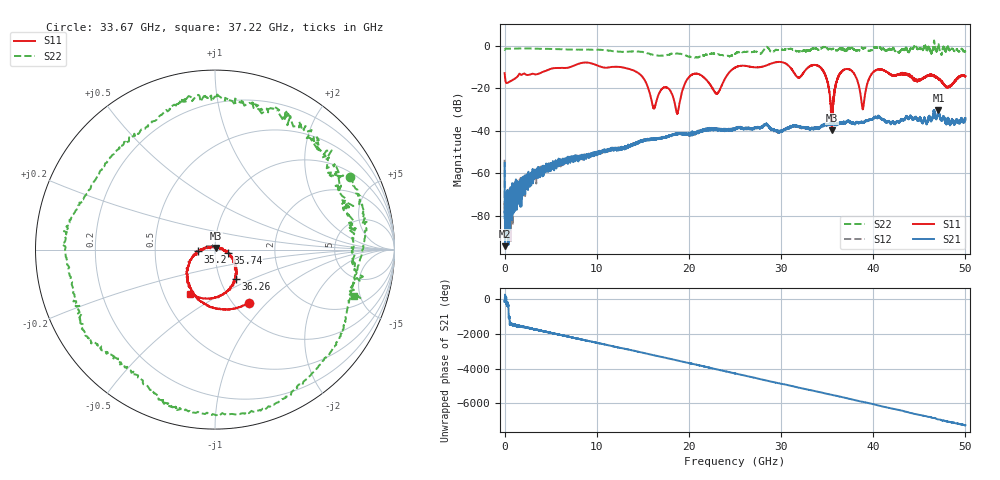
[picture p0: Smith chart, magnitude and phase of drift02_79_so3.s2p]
!Created with skrf (http://scikit-rf.org).
# Hz S RI R 50.0
!freq ReS11 ImS11 ReS21 ImS21 ReS12 ImS12 ReS22 ImS22
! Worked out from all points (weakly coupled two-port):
!   10001 points, 300 kHz to 50 GHz, reference 50 ohm
!   highest |S21| = -30.18 dB at 47.08 GHz (marker M1); lowest = -94.2 dB at 40.3 MHz (marker M2)
!   lowest |S11| = -39.8 dB at 35.51 GHz (marker M3), VSWR 1.02, Z = 50.6 + j0.858 ohm
!   |S11| at or under -10 dB: start of sweep to 7.181 GHz; 12.36 GHz to 25.16 GHz (12.81 GHz wide, 68.3 % of centre); 34.22 GHz to end of sweep (the widest 3 of 18)
!   |S22| runs from -5.7 to 2.4 dB; largest |S21 - S12| = 0.0038
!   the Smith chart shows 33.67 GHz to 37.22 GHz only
!   S11 on the Smith chart (normalised r, x): 33.67 GHz: 1.18, -0.79; 35.2 GHz: 0.83, -0.02; 35.74 GHz: 1.15, -0.04; 36.26 GHz: 1.19, -0.40; 37.22 GHz: 0.68, -0.37
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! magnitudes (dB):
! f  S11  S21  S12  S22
! 300 kHz  -12.9  -55.1  -53.6  -2.1
! 40.3 MHz  -14.7  -94.2  -73.6  -1.7
! 280.3 MHz  -17.6  -72.9  -82.1  -1.4
! 8.335 GHz  -8.2  -51.8  -52.6  -1.9
! 14.05 GHz  -11.8  -46.5  -46.1  -2.8
! 16.67 GHz  -23.4  -43.9  -43.4  -4.7
! 18.74 GHz  -31.9  -41.5  -41.5  -3.7
! 20.24 GHz  -13.9  -41.9  -41.2  -5.4
! 23.04 GHz  -22.6  -39.3  -39.5  -4.1
! 25 GHz  -10.3  -39.3  -39.3  -3.9
! 33.34 GHz  -9.3  -38.8  -38.9  -1.5
! 33.67 GHz  -9.1  -38.7  -38.7  -1.4
! 35.2 GHz  -20.5  -36.9  -37.1  -1.5
! 35.51 GHz  -39.8  -36.8  -36.7  -1.7
! 35.74 GHz  -22.7  -36.7  -36.9  -1.7
! 36.26 GHz  -14.0  -36.9  -36.5  -1.7
! 37.22 GHz  -11.0  -35.5  -35.7  -1.8
! 38.86 GHz  -29.8  -36.0  -35.9  -1.3
! 39.95 GHz  -12.7  -34.4  -34.4  -2.0
! 41.67 GHz  -13.0  -35.6  -35.8  -1.9
! 47.08 GHz  -15.6  -30.2  -30.5  0.7
! 50 GHz  -14.4  -34.1  -34.5  -2.7
